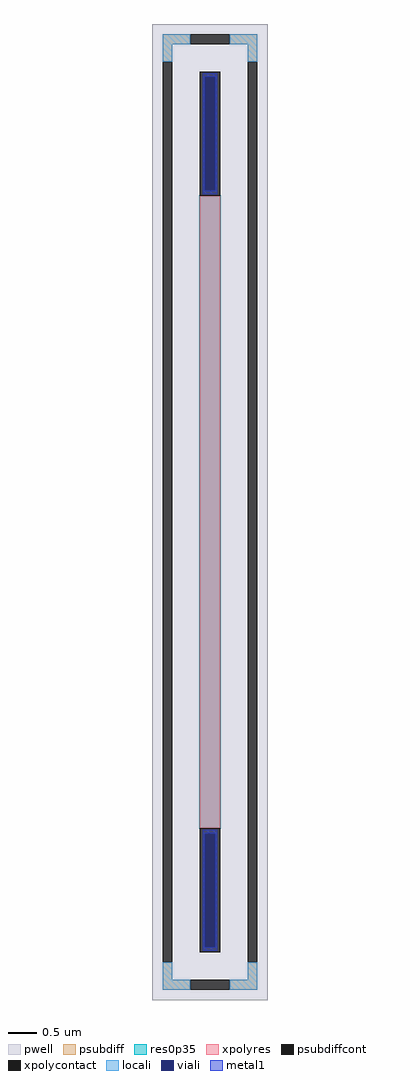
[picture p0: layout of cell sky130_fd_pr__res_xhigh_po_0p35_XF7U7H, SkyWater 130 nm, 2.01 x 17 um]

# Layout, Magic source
magic
tech sky130A
magscale 1 2
<< pwell >>
rect -201 -1700 201 1700
<< psubdiff >>
rect -165 1630 -69 1664
rect 69 1630 165 1664
rect -165 1568 -131 1630
rect 131 1568 165 1630
rect -165 -1630 -131 -1568
rect 131 -1630 165 -1568
rect -165 -1664 -69 -1630
rect 69 -1664 165 -1630
<< psubdiffcont >>
rect -69 1630 69 1664
rect -165 -1568 -131 1568
rect 131 -1568 165 1568
rect -69 -1664 69 -1630
<< xpolycontact >>
rect -35 1102 35 1534
rect -35 -1534 35 -1102
<< xpolyres >>
rect -35 -1102 35 1102
<< locali >>
rect -165 1630 -69 1664
rect 69 1630 165 1664
rect -165 1568 -131 1630
rect 131 1568 165 1630
rect -165 -1630 -131 -1568
rect 131 -1630 165 -1568
rect -165 -1664 -69 -1630
rect 69 -1664 165 -1630
<< viali >>
rect -19 1119 19 1516
rect -19 -1516 19 -1119
<< metal1 >>
rect -25 1516 25 1528
rect -25 1119 -19 1516
rect 19 1119 25 1516
rect -25 1107 25 1119
rect -25 -1119 25 -1107
rect -25 -1516 -19 -1119
rect 19 -1516 25 -1119
rect -25 -1528 25 -1516
<< res0p35 >>
rect -37 -1104 37 1104
<< properties >>
string FIXED_BBOX -148 -1647 148 1647
string gencell sky130_fd_pr__res_xhigh_po_0p35
string library sky130
string parameters w 0.350 l 11.02 m 1 nx 1 wmin 0.350 lmin 0.50 rho 2000 val 64.046k dummy 0 dw 0.0 term 188.2 sterm 0.0 caplen 0 wmax 0.350 guard 1 glc 1 grc 1 gtc 1 gbc 1 compatible {sky130_fd_pr__res_xhigh_po_0p35  sky130_fd_pr__res_xhigh_po_0p69 sky130_fd_pr__res_xhigh_po_1p41  sky130_fd_pr__res_xhigh_po_2p85 sky130_fd_pr__res_xhigh_po_5p73} full_metal 1 n_guard 0 hv_guard 0 vias 1 viagb 0 viagt 0 viagl 0 viagr 0
<< end >>
